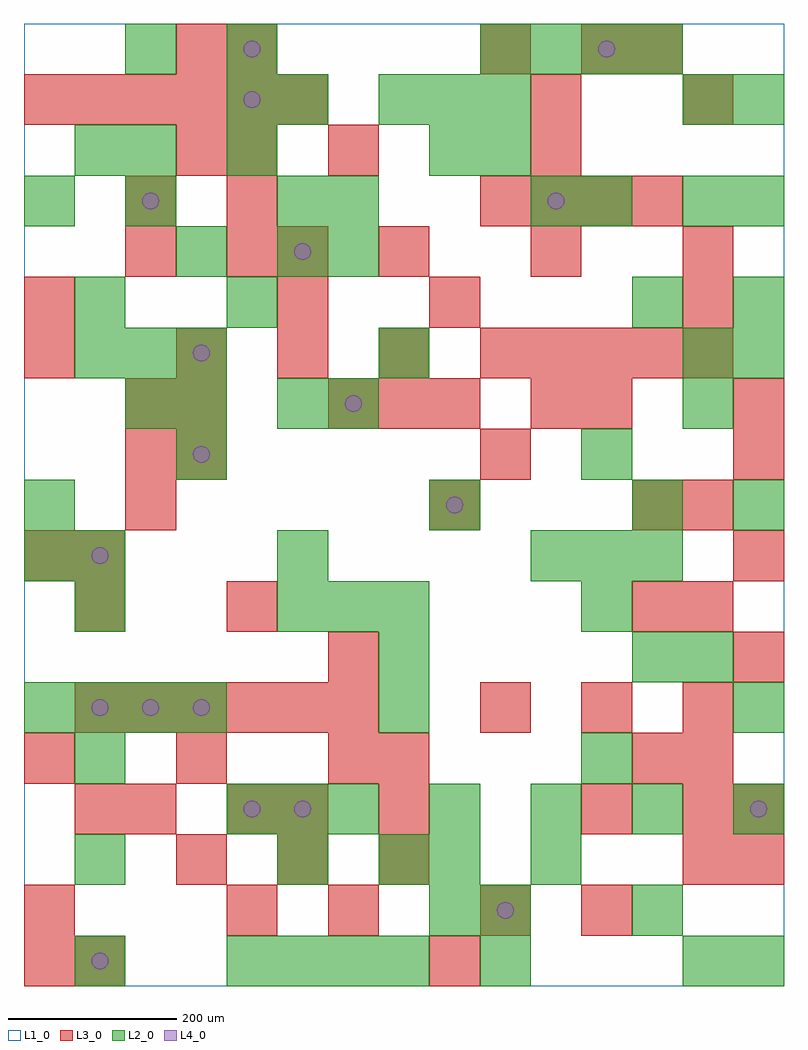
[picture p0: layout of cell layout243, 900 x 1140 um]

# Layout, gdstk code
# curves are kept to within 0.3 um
import gdstk
lib = gdstk.Library(unit=1e-6, precision=1e-09)
def R(c, l, rs):  # rectangles x0, y0, x1, y1
    for r in rs: c.add(gdstk.rectangle(r[:2], r[2:], *l))
def A(c, l, x, y, w, h, nx, ny, dx, dy):  # array of equal rectangles
    R(c, l, [(x+i*dx, y+j*dy, x+i*dx+w, y+j*dy+h) for i in range(nx) for j in range(ny)])
def P(c, l, *ps):  # polygons
    for p in ps: c.add(gdstk.Polygon(p, *l))
L1_0 = (1, 0)
L2_0 = (2, 0)
L3_0 = (3, 0)
L4_0 = (4, 0)

layout243 = lib.new_cell('layout243')
R(layout243, L1_0, [(0,0,900,1140)])
A(layout243, L2_0, 60, 0, 60, 60, 1, 3, 0, 120)
A(layout243, L2_0, 240, 0, 60, 60, 4, 1, 60, 0)
A(layout243, L2_0, 480, 120, 60, 60, 1, 3, 0, 420)
A(layout243, L2_0, 240, 180, 60, 60, 3, 1, 60, 0)
A(layout243, L2_0, 480, 180, 60, 60, 4, 1, 120, 0)
A(layout243, L2_0, 660, 240, 60, 60, 1, 3, 0, 180)
A(layout243, L2_0, 0, 300, 60, 60, 4, 1, 60, 0)
A(layout243, L2_0, 300, 420, 60, 60, 3, 1, 60, 0)
A(layout243, L2_0, 300, 480, 60, 60, 1, 3, 0, 180)
A(layout243, L2_0, 600, 480, 60, 60, 3, 1, 60, 0)
A(layout243, L2_0, 60, 720, 60, 60, 3, 1, 60, 0)
A(layout243, L2_0, 840, 780, 60, 60, 1, 3, 0, 120)
A(layout243, L2_0, 240, 960, 60, 60, 1, 3, 0, 60)
A(layout243, L2_0, 420, 1020, 60, 60, 3, 1, 60, 0)
A(layout243, L2_0, 540, 1080, 60, 60, 4, 1, 60, 0)
R(layout243, L2_0, [(540,0,600,60), (780,0,840,60), (840,0,900,60), (480,60,540,120), (540,60,600,120), (720,60,780,120), (300,120,360,180), (420,120,480,180), (600,120,660,180), (420,300,480,360), (840,300,900,360), (420,360,480,420), (720,360,780,420), (780,360,840,420), (60,420,120,480), (0,480,60,540), (60,480,120,540), (0,540,60,600), (720,540,780,600), (840,540,900,600), (180,600,240,660), (120,660,180,720), (180,660,240,720), (360,660,420,720), (780,660,840,720), (420,720,480,780), (780,720,840,780), (840,720,900,780), (60,780,120,840), (240,780,300,840), (720,780,780,840), (180,840,240,900), (360,840,420,900), (0,900,60,960), (120,900,180,960), (300,900,360,960), (360,900,420,960), (600,900,660,960), (660,900,720,960), (780,900,840,960), (60,960,120,1020), (120,960,180,1020), (540,960,600,1020), (300,1020,360,1080), (780,1020,840,1080), (120,1080,180,1140)])
A(layout243, L3_0, 180, 120, 60, 60, 3, 1, 120, 0)
A(layout243, L3_0, 780, 120, 60, 60, 1, 3, 0, 60)
A(layout243, L3_0, 0, 240, 60, 60, 3, 1, 180, 0)
A(layout243, L3_0, 60, 300, 60, 60, 6, 1, 60, 0)
A(layout243, L3_0, 540, 300, 60, 60, 3, 1, 120, 0)
A(layout243, L3_0, 840, 360, 60, 60, 1, 3, 0, 120)
A(layout243, L3_0, 120, 540, 60, 60, 1, 3, 0, 60)
A(layout243, L3_0, 780, 540, 60, 60, 1, 3, 0, 240)
A(layout243, L3_0, 360, 660, 60, 60, 3, 1, 60, 0)
A(layout243, L3_0, 180, 720, 60, 60, 4, 1, 120, 0)
A(layout243, L3_0, 600, 720, 60, 60, 4, 1, 60, 0)
A(layout243, L3_0, 240, 840, 60, 60, 1, 3, 0, 60)
A(layout243, L3_0, 420, 840, 60, 60, 3, 1, 180, 0)
A(layout243, L3_0, 540, 900, 60, 60, 4, 1, 60, 0)
A(layout243, L3_0, 0, 1020, 60, 60, 6, 1, 60, 0)
R(layout243, L3_0, [(0,0,60,60), (60,0,120,60), (480,0,540,60), (0,60,60,120), (240,60,300,120), (360,60,420,120), (540,60,600,120), (660,60,720,120), (840,120,900,180), (60,180,120,240), (120,180,180,240), (240,180,300,240), (300,180,360,240), (420,180,480,240), (660,180,720,240), (840,180,900,240), (420,240,480,300), (720,240,780,300), (360,360,420,420), (60,420,120,480), (240,420,300,480), (720,420,780,480), (780,420,840,480), (0,480,60,540), (60,480,120,540), (480,540,540,600), (720,540,780,600), (180,600,240,660), (540,600,600,660), (180,660,240,720), (600,660,660,720), (660,660,720,720), (840,660,900,720), (0,720,60,780), (0,780,60,840), (300,780,360,840), (480,780,540,840), (120,840,180,900), (300,840,360,900), (120,900,180,960), (180,960,240,1020), (360,960,420,1020), (600,960,660,1020), (600,1020,660,1080), (180,1080,240,1140), (240,1080,300,1140), (540,1080,600,1140), (660,1080,720,1140), (720,1080,780,1140)])
P(layout243, L4_0, [(100,30),(99.239,33.827),(97.071,37.071),(93.827,39.239),(90,40),(86.173,39.239),(82.929,37.071),(80.761,33.827),(80,30),(80.761,26.173),(82.929,22.929),(86.173,20.761),(90,20),(93.827,20.761),(97.071,22.929),(99.239,26.173)],
  [(100,330),(99.239,333.827),(97.071,337.071),(93.827,339.239),(90,340),(86.173,339.239),(82.929,337.071),(80.761,333.827),(80,330),(80.761,326.173),(82.929,322.929),(86.173,320.761),(90,320),(93.827,320.761),(97.071,322.929),(99.239,326.173)],
  [(100,510),(99.239,513.827),(97.071,517.071),(93.827,519.239),(90,520),(86.173,519.239),(82.929,517.071),(80.761,513.827),(80,510),(80.761,506.173),(82.929,502.929),(86.173,500.761),(90,500),(93.827,500.761),(97.071,502.929),(99.239,506.173)],
  [(160,330),(159.239,333.827),(157.071,337.071),(153.827,339.239),(150,340),(146.173,339.239),(142.929,337.071),(140.761,333.827),(140,330),(140.761,326.173),(142.929,322.929),(146.173,320.761),(150,320),(153.827,320.761),(157.071,322.929),(159.239,326.173)],
  [(160,930),(159.239,933.827),(157.071,937.071),(153.827,939.239),(150,940),(146.173,939.239),(142.929,937.071),(140.761,933.827),(140,930),(140.761,926.173),(142.929,922.929),(146.173,920.761),(150,920),(153.827,920.761),(157.071,922.929),(159.239,926.173)],
  [(220,330),(219.239,333.827),(217.071,337.071),(213.827,339.239),(210,340),(206.173,339.239),(202.929,337.071),(200.761,333.827),(200,330),(200.761,326.173),(202.929,322.929),(206.173,320.761),(210,320),(213.827,320.761),(217.071,322.929),(219.239,326.173)],
  [(220,630),(219.239,633.827),(217.071,637.071),(213.827,639.239),(210,640),(206.173,639.239),(202.929,637.071),(200.761,633.827),(200,630),(200.761,626.173),(202.929,622.929),(206.173,620.761),(210,620),(213.827,620.761),(217.071,622.929),(219.239,626.173)],
  [(220,750),(219.239,753.827),(217.071,757.071),(213.827,759.239),(210,760),(206.173,759.239),(202.929,757.071),(200.761,753.827),(200,750),(200.761,746.173),(202.929,742.929),(206.173,740.761),(210,740),(213.827,740.761),(217.071,742.929),(219.239,746.173)],
  [(280,210),(279.239,213.827),(277.071,217.071),(273.827,219.239),(270,220),(266.173,219.239),(262.929,217.071),(260.761,213.827),(260,210),(260.761,206.173),(262.929,202.929),(266.173,200.761),(270,200),(273.827,200.761),(277.071,202.929),(279.239,206.173)],
  [(280,1050),(279.239,1053.827),(277.071,1057.071),(273.827,1059.239),(270,1060),(266.173,1059.239),(262.929,1057.071),(260.761,1053.827),(260,1050),(260.761,1046.173),(262.929,1042.929),(266.173,1040.761),(270,1040),(273.827,1040.761),(277.071,1042.929),(279.239,1046.173)],
  [(280,1110),(279.239,1113.827),(277.071,1117.071),(273.827,1119.239),(270,1120),(266.173,1119.239),(262.929,1117.071),(260.761,1113.827),(260,1110),(260.761,1106.173),(262.929,1102.929),(266.173,1100.761),(270,1100),(273.827,1100.761),(277.071,1102.929),(279.239,1106.173)],
  [(340,210),(339.239,213.827),(337.071,217.071),(333.827,219.239),(330,220),(326.173,219.239),(322.929,217.071),(320.761,213.827),(320,210),(320.761,206.173),(322.929,202.929),(326.173,200.761),(330,200),(333.827,200.761),(337.071,202.929),(339.239,206.173)],
  [(340,870),(339.239,873.827),(337.071,877.071),(333.827,879.239),(330,880),(326.173,879.239),(322.929,877.071),(320.761,873.827),(320,870),(320.761,866.173),(322.929,862.929),(326.173,860.761),(330,860),(333.827,860.761),(337.071,862.929),(339.239,866.173)],
  [(400,690),(399.239,693.827),(397.071,697.071),(393.827,699.239),(390,700),(386.173,699.239),(382.929,697.071),(380.761,693.827),(380,690),(380.761,686.173),(382.929,682.929),(386.173,680.761),(390,680),(393.827,680.761),(397.071,682.929),(399.239,686.173)],
  [(520,570),(519.239,573.827),(517.071,577.071),(513.827,579.239),(510,580),(506.173,579.239),(502.929,577.071),(500.761,573.827),(500,570),(500.761,566.173),(502.929,562.929),(506.173,560.761),(510,560),(513.827,560.761),(517.071,562.929),(519.239,566.173)],
  [(580,90),(579.239,93.827),(577.071,97.071),(573.827,99.239),(570,100),(566.173,99.239),(562.929,97.071),(560.761,93.827),(560,90),(560.761,86.173),(562.929,82.929),(566.173,80.761),(570,80),(573.827,80.761),(577.071,82.929),(579.239,86.173)],
  [(640,930),(639.239,933.827),(637.071,937.071),(633.827,939.239),(630,940),(626.173,939.239),(622.929,937.071),(620.761,933.827),(620,930),(620.761,926.173),(622.929,922.929),(626.173,920.761),(630,920),(633.827,920.761),(637.071,922.929),(639.239,926.173)],
  [(700,1110),(699.239,1113.827),(697.071,1117.071),(693.827,1119.239),(690,1120),(686.173,1119.239),(682.929,1117.071),(680.761,1113.827),(680,1110),(680.761,1106.173),(682.929,1102.929),(686.173,1100.761),(690,1100),(693.827,1100.761),(697.071,1102.929),(699.239,1106.173)],
  [(880,210),(879.239,213.827),(877.071,217.071),(873.827,219.239),(870,220),(866.173,219.239),(862.929,217.071),(860.761,213.827),(860,210),(860.761,206.173),(862.929,202.929),(866.173,200.761),(870,200),(873.827,200.761),(877.071,202.929),(879.239,206.173)])

lib.write_gds('layout243.gds')
